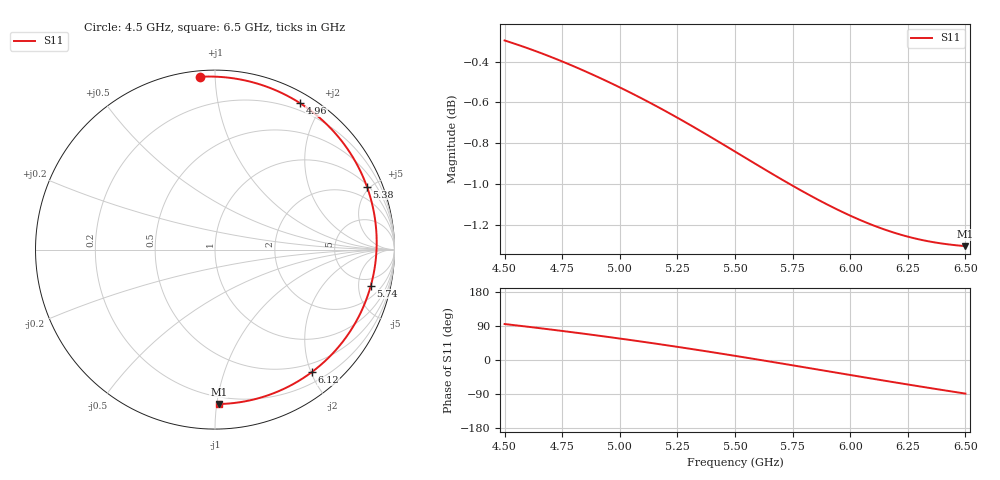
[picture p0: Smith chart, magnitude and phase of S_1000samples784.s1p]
! TOUCHSTONE file generated by CST MICROWAVE STUDIO
! Date and time: Sat Oct 29 09:09:17 2022
! Project name: L.cst
! Parameters = {Di=1.27; Epsilon_r=1.56; InnerDiameter=1.27; Length=2; Lf=10; Lg=60; OuterConductorThickness=0.2921; OuterDiameter=3.6; Wf=3; Wp=41.2; de=1.5; df=6.8; g=0.8; gx=4.16533; gy=3.53688; h=2.34; hf=1.524; px=9.02266; py=11.1503; w=9.7; wx=4.85733; wy=7.6134}
! Header version: 2018
! Port assignment regex: !\s*Touchstone port\s*([0-9]+)\s*=\s*(CST MWS port|CST DS port)\s*([0-9]+|Zmin|Zmax)\s*\(\"(.*)\"\)(\s*mode\s*([0-9]+))?.*
! Touchstone port assignment:
! Touchstone port 1 = CST MWS port 1 ("")
# GHz S DB R 50
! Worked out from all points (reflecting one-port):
!   101 points, 4.5 GHz to 6.5 GHz, reference 50 ohm
!   lowest |S11| = -1.3 dB at 6.5 GHz (marker M1), VSWR 13.34, Z = 7.63 - j50.6 ohm
!   phase of S11 starts at 95 deg and turns -184 deg over the sweep
!   S11 on the Smith chart (normalised r, x): 4.5 GHz: 0.03, +0.92; 4.96 GHz: 0.12, +1.73; 5.38 GHz: 1.09, +4.78; 5.74 GHz: 3.57, -6.96; 6.12 GHz: 0.36, -2.01; 6.5 GHz: 0.15, -1.01
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4.5  -0.30 94.9
4.64  -0.35 84.9
4.76  -0.40 75.9
4.86  -0.45 68.1
4.96  -0.50 59.9
5  -0.53 56.6
5.12  -0.60 46.3
5.18  -0.63 41.0
5.26  -0.68 33.8
5.38  -0.76 22.5
5.44  -0.80 16.8
5.5  -0.84 11.0
5.56  -0.88 5.1
5.62  -0.92 -0.9
5.68  -0.96 -6.9
5.74  -1.00 -13.0
5.76  -1.01 -15.1
5.82  -1.05 -21.2
5.88  -1.09 -27.3
5.94  -1.12 -33.4
6  -1.15 -39.5
6.12  -1.21 -51.7
6.2  -1.24 -59.7
6.26  -1.26 -65.6
6.32  -1.28 -71.5
6.38  -1.29 -77.3
6.44  -1.30 -83.0
6.5  -1.30 -88.6
